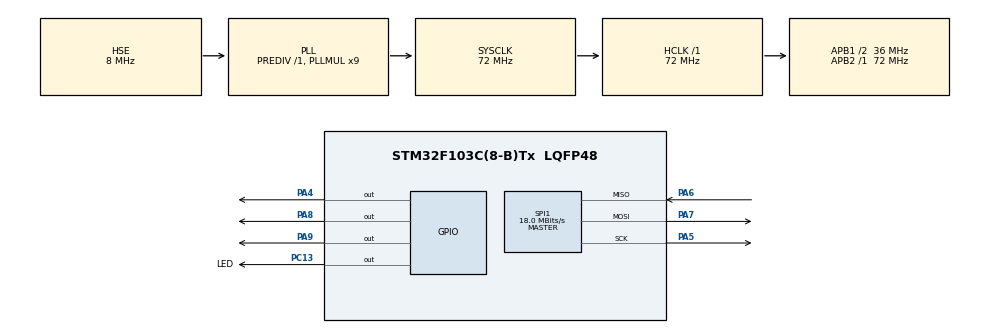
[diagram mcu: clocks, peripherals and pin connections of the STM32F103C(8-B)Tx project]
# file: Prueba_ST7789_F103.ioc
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Mcu.Family=STM32F1
Mcu.Name=STM32F103C(8-B)Tx
Mcu.Package=LQFP48
NVIC.PriorityGroup=NVIC_PRIORITYGROUP_4
PA13.Mode=Serial_Wire
PA13.Signal=SYS_JTMS-SWDIO
PA14.Mode=Serial_Wire
PA14.Signal=SYS_JTCK-SWCLK
PA4.PinState=GPIO_PIN_SET
PA4.Signal=GPIO_Output
PA5.Mode=Full_Duplex_Master
PA5.Signal=SPI1_SCK
PA6.Mode=Full_Duplex_Master
PA6.Signal=SPI1_MISO
PA7.Mode=Full_Duplex_Master
PA7.Signal=SPI1_MOSI
PA8.Signal=GPIO_Output
PA9.Signal=GPIO_Output
PC13-TAMPER-RTC.GPIO_Label=LED
PC13-TAMPER-RTC.GPIO_ModeDefaultOutputPP=GPIO_MODE_OUTPUT_PP
PC13-TAMPER-RTC.GPIO_PuPd=GPIO_NOPULL
PC13-TAMPER-RTC.PinState=GPIO_PIN_SET
PC13-TAMPER-RTC.Signal=GPIO_Output
PD0-OSC_IN.Mode=HSE-External-Oscillator
PD0-OSC_IN.Signal=RCC_OSC_IN
PD1-OSC_OUT.Mode=HSE-External-Oscillator
PD1-OSC_OUT.Signal=RCC_OSC_OUT
ProjectManager.HeapSize=0x200
ProjectManager.StackSize=0x400
ProjectManager.TargetToolchain=STM32CubeIDE
RCC.AHBFreq_Value=72000000
RCC.APB1CLKDivider=RCC_HCLK_DIV2
RCC.APB1Freq_Value=36000000
RCC.APB1TimFreq_Value=72000000
RCC.APB2Freq_Value=72000000
RCC.APB2TimFreq_Value=72000000
RCC.HCLKFreq_Value=72000000
RCC.PLLMUL=RCC_PLL_MUL9
RCC.PLLSourceVirtual=RCC_PLLSOURCE_HSE
RCC.SYSCLKFreq_VALUE=72000000
RCC.SYSCLKSource=RCC_SYSCLKSOURCE_PLLCLK
RCC.USBFreq_Value=72000000
SPI1.BaudRatePrescaler=SPI_BAUDRATEPRESCALER_4
SPI1.CLKPolarity=SPI_POLARITY_HIGH
SPI1.CalculateBaudRate=18.0 MBits/s
SPI1.Direction=SPI_DIRECTION_2LINES
SPI1.Mode=SPI_MODE_MASTER
SPI1.VirtualType=VM_MASTER
board=custom

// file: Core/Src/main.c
/* USER CODE BEGIN Header */
/**
  ******************************************************************************
  * @file           : main.c
  * @brief          : Main program body
  ******************************************************************************
  * @attention
  *
  * Copyright (c) 2024 STMicroelectronics.
  * All rights reserved.
  *
  * This software is licensed under terms that can be found in the LICENSE file
  * in the root directory of this software component.
  * If no LICENSE file comes with this software, it is provided AS-IS.
  *
  ******************************************************************************
  */
/* USER CODE END Header */
#include "main.h"

/* USER CODE BEGIN Includes */
#include "st7789.h"
#include "fonts.h"
/* USER CODE END Includes */

SPI_HandleTypeDef hspi1;

void SystemClock_Config(void);
static void MX_GPIO_Init(void);
static void MX_SPI1_Init(void);

/* USER CODE BEGIN 0 */
void init()
{
	HAL_Delay(50);
	HAL_GPIO_TogglePin(LED_GPIO_Port, LED_Pin);
	ST7789_Init();
	HAL_Delay(50);
	HAL_GPIO_TogglePin(LED_GPIO_Port, LED_Pin);
	HAL_Delay(50);
}

void loop()
{
	HAL_GPIO_TogglePin(LED_GPIO_Port, LED_Pin);

	// Check border
	    ST7789_FillScreen(ST7789_BLACK);

	    for(int x = 0; x < ST7789_WIDTH; x++) {
	        ST7789_DrawPixel(x, 0, ST7789_RED);
	        ST7789_DrawPixel(x, ST7789_HEIGHT-1, ST7789_RED);
	    }

	    for(int y = 0; y < ST7789_HEIGHT; y++) {
	        ST7789_DrawPixel(0, y, ST7789_RED);
	        ST7789_DrawPixel(ST7789_WIDTH-1, y, ST7789_RED);
	    }

	    HAL_Delay(3000);
	    HAL_GPIO_TogglePin(LED_GPIO_Port, LED_Pin);

	    // Check fonts
	    ST7789_FillScreen(ST7789_BLACK);
	    ST7789_WriteString(0, 0, "Font_7x10, red on black, lorem ipsum dolor sit amet", Font_7x10, ST7789_RED, ST7789_BLACK);
	    ST7789_WriteString(0, 3*10, "Font_11x18, green, lorem ipsum", Font_11x18, ST7789_GREEN, ST7789_BLACK);
	    ST7789_WriteString(0, 3*10+3*18, "Font_16x26", Font_16x26, ST7789_BLUE, ST7789_BLACK);
	    HAL_Delay(2000);
	    HAL_GPIO_TogglePin(LED_GPIO_Port, LED_Pin);

	    // Check colors
	    ST7789_FillScreen(ST7789_BLACK);
	    ST7789_WriteString(0, 0, "BLACK", Font_11x18, ST7789_WHITE, ST7789_BLACK);
	    HAL_Delay(500);

	    ST7789_FillScreen(ST7789_BLUE);
	    ST7789_WriteString(0, 0, "BLUE", Font_11x18, ST7789_BLACK, ST7789_BLUE);
	    HAL_Delay(500);

	    ST7789_FillScreen(ST7789_RED);
	    ST7789_WriteString(0, 0, "RED", Font_11x18, ST7789_BLACK, ST7789_RED);
	    HAL_Delay(500);

	    ST7789_FillScreen(ST7789_GREEN);
	    ST7789_WriteString(0, 0, "GREEN", Font_11x18, ST7789_BLACK, ST7789_GREEN);
	    HAL_Delay(500);

	    ST7789_FillScreen(ST7789_CYAN);
	    ST7789_WriteString(0, 0, "CYAN", Font_11x18, ST7789_BLACK, ST7789_CYAN);
	    HAL_Delay(500);

	    ST7789_FillScreen(ST7789_MAGENTA);
	    ST7789_WriteString(0, 0, "MAGENTA", Font_11x18, ST7789_BLACK, ST7789_MAGENTA);
	    HAL_Delay(500);

	    ST7789_FillScreen(ST7789_YELLOW);
	    ST7789_WriteString(0, 0, "YELLOW", Font_11x18, ST7789_BLACK, ST7789_YELLOW);
	    HAL_Delay(500);

	    ST7789_FillScreen(ST7789_WHITE);
	    ST7789_WriteString(0, 0, "WHITE", Font_11x18, ST7789_BLACK, ST7789_WHITE);
	    HAL_Delay(500);
}
/* USER CODE END 0 */

int main(void)
{

  /* MCU Configuration--------------------------------------------------------*/

  /* Reset of all peripherals, Initializes the Flash interface and the Systick. */
  HAL_Init();

  /* Configure the system clock */
  SystemClock_Config();

  /* Initialize all configured peripherals */
  MX_GPIO_Init();
  MX_SPI1_Init();

  /* Infinite loop */
  /* USER CODE BEGIN WHILE */
  init();
  while (1)
  {
	  loop();
    /* USER CODE END WHILE */

  }
}

void SystemClock_Config(void)
{
  RCC_OscInitTypeDef RCC_OscInitStruct = {0};
  RCC_ClkInitTypeDef RCC_ClkInitStruct = {0};

  /** Initializes the RCC Oscillators according to the specified parameters
  * in the RCC_OscInitTypeDef structure.
  */
  RCC_OscInitStruct.OscillatorType = RCC_OSCILLATORTYPE_HSE;
  RCC_OscInitStruct.HSEState = RCC_HSE_ON;
  RCC_OscInitStruct.HSEPredivValue = RCC_HSE_PREDIV_DIV1;
  RCC_OscInitStruct.HSIState = RCC_HSI_ON;
  RCC_OscInitStruct.PLL.PLLState = RCC_PLL_ON;
  RCC_OscInitStruct.PLL.PLLSource = RCC_PLLSOURCE_HSE;
  RCC_OscInitStruct.PLL.PLLMUL = RCC_PLL_MUL9;
  if (HAL_RCC_OscConfig(&RCC_OscInitStruct) != HAL_OK)
  {
    Error_Handler();
  }

  /** Initializes the CPU, AHB and APB buses clocks
  */
  RCC_ClkInitStruct.ClockType = RCC_CLOCKTYPE_HCLK|RCC_CLOCKTYPE_SYSCLK
                              |RCC_CLOCKTYPE_PCLK1|RCC_CLOCKTYPE_PCLK2;
  RCC_ClkInitStruct.SYSCLKSource = RCC_SYSCLKSOURCE_PLLCLK;
  RCC_ClkInitStruct.AHBCLKDivider = RCC_SYSCLK_DIV1;
  RCC_ClkInitStruct.APB1CLKDivider = RCC_HCLK_DIV2;
  RCC_ClkInitStruct.APB2CLKDivider = RCC_HCLK_DIV1;

  if (HAL_RCC_ClockConfig(&RCC_ClkInitStruct, FLASH_LATENCY_2) != HAL_OK)
  {
    Error_Handler();
  }
}

static void MX_SPI1_Init(void)
{

  /* SPI1 parameter configuration*/
  hspi1.Instance = SPI1;
  hspi1.Init.Mode = SPI_MODE_MASTER;
  hspi1.Init.Direction = SPI_DIRECTION_2LINES;
  hspi1.Init.DataSize = SPI_DATASIZE_8BIT;
  hspi1.Init.CLKPolarity = SPI_POLARITY_HIGH;
  hspi1.Init.CLKPhase = SPI_PHASE_1EDGE;
  hspi1.Init.NSS = SPI_NSS_SOFT;
  hspi1.Init.BaudRatePrescaler = SPI_BAUDRATEPRESCALER_4;
  hspi1.Init.FirstBit = SPI_FIRSTBIT_MSB;
  hspi1.Init.TIMode = SPI_TIMODE_DISABLE;
  hspi1.Init.CRCCalculation = SPI_CRCCALCULATION_DISABLE;
  hspi1.Init.CRCPolynomial = 10;
  if (HAL_SPI_Init(&hspi1) != HAL_OK)
  {
    Error_Handler();
  }

}

static void MX_GPIO_Init(void)
{
  GPIO_InitTypeDef GPIO_InitStruct = {0};

  /* GPIO Ports Clock Enable */
  __HAL_RCC_GPIOC_CLK_ENABLE();
  __HAL_RCC_GPIOD_CLK_ENABLE();
  __HAL_RCC_GPIOA_CLK_ENABLE();

  /*Configure GPIO pin Output Level */
  HAL_GPIO_WritePin(LED_GPIO_Port, LED_Pin, GPIO_PIN_SET);

  /*Configure GPIO pin Output Level */
  HAL_GPIO_WritePin(GPIOA, GPIO_PIN_4, GPIO_PIN_SET);

  /*Configure GPIO pin Output Level */
  HAL_GPIO_WritePin(GPIOA, GPIO_PIN_8|GPIO_PIN_9, GPIO_PIN_RESET);

  /*Configure GPIO pin : LED_Pin */
  GPIO_InitStruct.Pin = LED_Pin;
  GPIO_InitStruct.Mode = GPIO_MODE_OUTPUT_PP;
  GPIO_InitStruct.Pull = GPIO_NOPULL;
  GPIO_InitStruct.Speed = GPIO_SPEED_FREQ_LOW;
  HAL_GPIO_Init(LED_GPIO_Port, &GPIO_InitStruct);

  /*Configure GPIO pins : PA4 PA8 PA9 */
  GPIO_InitStruct.Pin = GPIO_PIN_4|GPIO_PIN_8|GPIO_PIN_9;
  GPIO_InitStruct.Mode = GPIO_MODE_OUTPUT_PP;
  GPIO_InitStruct.Pull = GPIO_NOPULL;
  GPIO_InitStruct.Speed = GPIO_SPEED_FREQ_LOW;
  HAL_GPIO_Init(GPIOA, &GPIO_InitStruct);

}

void Error_Handler(void)
{
  __disable_irq();
  while (1)
  {
  }
}
